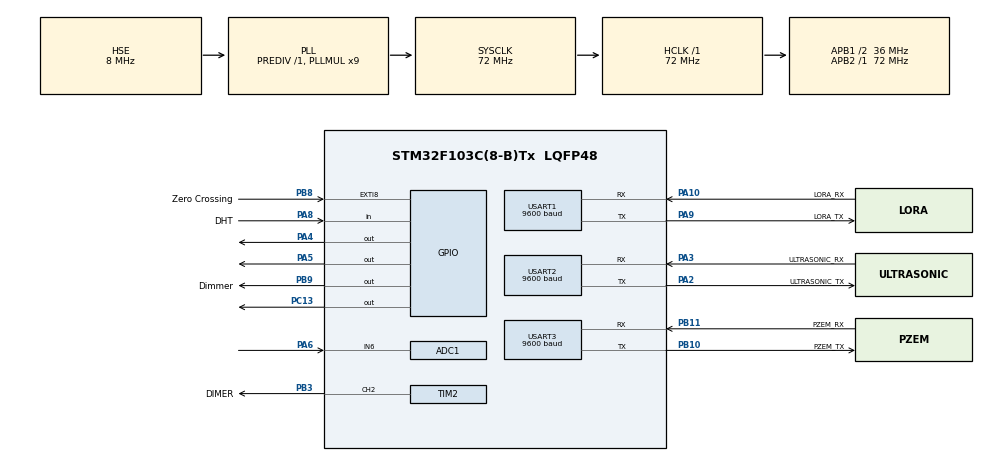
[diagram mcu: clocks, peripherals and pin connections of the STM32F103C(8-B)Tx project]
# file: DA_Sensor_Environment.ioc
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ADC1.Channel-0\#ChannelRegularConversion=ADC_CHANNEL_6
ADC1.ContinuousConvMode=ENABLE
ADC1.InjNumberOfConversion=0
ADC1.NbrOfConversionFlag=1
ADC1.Rank-0\#ChannelRegularConversion=1
ADC1.SamplingTime-0\#ChannelRegularConversion=ADC_SAMPLETIME_239CYCLES_5
ADC1.master=1
Mcu.Family=STM32F1
Mcu.Name=STM32F103C(8-B)Tx
Mcu.Package=LQFP48
NVIC.ADC1_2_IRQn=true\:0\:0\:false\:false\:true\:true\:true
NVIC.EXTI9_5_IRQn=true\:0\:0\:false\:false\:true\:true\:true
NVIC.PriorityGroup=NVIC_PRIORITYGROUP_4
NVIC.TIM2_IRQn=true\:0\:0\:false\:false\:true\:true\:true
NVIC.USART1_IRQn=true\:1\:0\:true\:false\:true\:true\:true
NVIC.USART2_IRQn=true\:0\:0\:false\:false\:true\:true\:true
NVIC.USART3_IRQn=true\:0\:0\:false\:false\:true\:true\:true
PA10.GPIO_Label=LORA_RX
PA10.Mode=Asynchronous
PA10.Signal=USART1_RX
PA13.Mode=Serial_Wire
PA13.Signal=SYS_JTMS-SWDIO
PA14.Mode=Serial_Wire
PA14.Signal=SYS_JTCK-SWCLK
PA2.GPIO_Label=ULTRASONIC_TX
PA2.Mode=Asynchronous
PA2.Signal=USART2_TX
PA3.GPIO_Label=ULTRASONIC_RX
PA3.Mode=Asynchronous
PA3.Signal=USART2_RX
PA4.GPIO_ModeDefaultOutputPP=GPIO_MODE_OUTPUT_OD
PA4.GPIO_PuPd=GPIO_PULLUP
PA4.Signal=GPIO_Output
PA5.GPIO_ModeDefaultOutputPP=GPIO_MODE_OUTPUT_OD
PA5.GPIO_PuPd=GPIO_PULLUP
PA5.PinState=GPIO_PIN_RESET
PA5.Signal=GPIO_Output
PA6.Signal=ADCx_IN6
PA8.GPIO_Label=DHT
PA8.Signal=GPIO_Input
PA9.GPIO_Label=LORA_TX
PA9.Mode=Asynchronous
PA9.Signal=USART1_TX
PB10.GPIO_Label=PZEM_TX
PB10.Mode=Asynchronous
PB10.Signal=USART3_TX
PB11.GPIO_Label=PZEM_RX
PB11.Mode=Asynchronous
PB11.Signal=USART3_RX
PB3.GPIO_Label=DIMER
PB3.GPIO_Speed=GPIO_SPEED_FREQ_HIGH
PB3.Signal=S_TIM2_CH2
PB8.GPIO_Label=Zero Crossing
PB8.GPIO_ModeDefaultEXTI=GPIO_MODE_IT_FALLING
PB8.Signal=GPXTI8
PB9.GPIO_Label=Dimmer
PB9.GPIO_ModeDefaultOutputPP=GPIO_MODE_OUTPUT_OD
PB9.GPIO_Speed=GPIO_SPEED_FREQ_HIGH
PB9.Signal=GPIO_Output
PC13-TAMPER-RTC.GPIO_Speed=GPIO_SPEED_FREQ_HIGH
PC13-TAMPER-RTC.PinState=GPIO_PIN_SET
PC13-TAMPER-RTC.Signal=GPIO_Output
PD0-OSC_IN.Mode=HSE-External-Oscillator
PD0-OSC_IN.Signal=RCC_OSC_IN
PD1-OSC_OUT.Mode=HSE-External-Oscillator
PD1-OSC_OUT.Signal=RCC_OSC_OUT
ProjectManager.HeapSize=0x200
ProjectManager.StackSize=0x400
ProjectManager.TargetToolchain=MDK-ARM V5
RCC.ADCPresc=RCC_ADCPCLK2_DIV6
RCC.AHBFreq_Value=72000000
RCC.APB1CLKDivider=RCC_HCLK_DIV2
RCC.APB1Freq_Value=36000000
RCC.APB1TimFreq_Value=72000000
RCC.APB2Freq_Value=72000000
RCC.APB2TimFreq_Value=72000000
RCC.HCLKFreq_Value=72000000
RCC.PLLMUL=RCC_PLL_MUL9
RCC.PLLSourceVirtual=RCC_PLLSOURCE_HSE
RCC.SYSCLKFreq_VALUE=72000000
RCC.SYSCLKSource=RCC_SYSCLKSOURCE_PLLCLK
RCC.USBFreq_Value=72000000
SH.ADCx_IN6.0=ADC1_IN6,IN6
SH.S_TIM2_CH2.0=TIM2_CH2,PWM Generation2 CH2
TIM2.Channel-PWM\ Generation2\ CH2=TIM_CHANNEL_2
TIM2.Period=200
TIM2.Prescaler=2
USART1.BaudRate=9600
USART1.VirtualMode=VM_ASYNC
USART2.BaudRate=9600
USART2.VirtualMode=VM_ASYNC
USART3.BaudRate=9600
USART3.VirtualMode=VM_ASYNC
VP_TIM2_VS_ClockSourceINT.Mode=Internal
board=custom

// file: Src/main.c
/* USER CODE BEGIN Header */
/**
  ******************************************************************************
  * @file           : main.c
  * @brief          : Main program body
  ******************************************************************************
  * @attention
  *
  * <h2><center>&copy; Copyright (c) 2019 STMicroelectronics.
  * All rights reserved.</center></h2>
  *
  * This software component is licensed by ST under BSD 3-Clause license,
  * the "License"; You may not use this file except in compliance with the
  * License. You may obtain a copy of the License at:
  *                        opensource.org/licenses/BSD-3-Clause
  *
  ******************************************************************************
  */
/* USER CODE END Header */

#include "main.h"

/* USER CODE BEGIN Includes */
#include <stdlib.h>     /* atoi */
#include <string.h>
#include "dwt_stm32_delay.h"
#include "pzem004t.h"
#include "DHT11.h"
/* USER CODE END Includes */

/* USER CODE BEGIN PD */
#define DATA_RANGE 24

#define ADDR_A (uint8_t)0x01
#define ADDR_B (uint8_t)0xC1
#define ADDR_C (uint8_t)0xA1

#define SIZE_VOLTAGE_PZEM 3
#define SIZE_CURRENT_PZEM 2
#define SIZE_POWER_PZEM 2
#define SIZE_ENERGY_PZEM 3

#define DHT_AVAILABLE 0

#define RAINY (uint8_t)0xA6
#define NO_RAIN (uint8_t)0xC0

#define UPDATE_REQUEST (uint8_t)0x96

/* USER CODE END PD */

ADC_HandleTypeDef hadc1;

TIM_HandleTypeDef htim2;

UART_HandleTypeDef huart1;
UART_HandleTypeDef huart2;
UART_HandleTypeDef huart3;

/* USER CODE BEGIN PV */
char SonicData[6];
uint8_t PzemData[7];
uint8_t LoraData[5];
uint32_t RainData;
volatile uint8_t isrCounter;
volatile uint8_t isrPzem = 1;
/* USER CODE END PV */

void SystemClock_Config(void);
static void MX_GPIO_Init(void);
static void MX_USART3_UART_Init(void);
static void MX_TIM2_Init(void);
static void MX_USART1_UART_Init(void);
static void MX_USART2_UART_Init(void);
static void MX_ADC1_Init(void);
/* USER CODE BEGIN PFP */
void HAL_UART_RxCpltCallback(UART_HandleTypeDef *huart)
{
  if(huart->Instance == USART1)
  {
  isrCounter = 1;
  HAL_UART_Receive_IT(&huart1, (uint8_t*) LoraData , sizeof(LoraData));

  }
  if(huart->Instance == USART2)
  {
  HAL_UART_Receive_IT(&huart2, (uint8_t*) SonicData , sizeof(SonicData));
  }
  if(huart->Instance == USART3)
  {
  isrPzem = 0;
  HAL_UART_Receive_IT(&huart3, (uint8_t*) PzemData , sizeof(PzemData));
  }
}

void HAL_ADC_ConvCpltCallback(ADC_HandleTypeDef* hadc)
{
	if(hadc->Instance == hadc1.Instance)
	{
		RainData = HAL_ADC_GetValue(hadc);
	}
}

/* USER CODE END PFP */

/* USER CODE BEGIN 0 */
float RH, TEMP;
uint8_t buffer[5];
uint8_t* pzemDataCplt;
uint32_t temp = 0;
uint8_t dimData = 0;
/*
volatile int i = 0, zeroCrossing = 0, debug = 0;
volatile uint8_t dim = 100; // dim around: 5 - 128 :))) // 128 is turn off Lamp
*/
// Detect Zero crossing
void HAL_GPIO_EXTI_Callback(uint16_t GPIO_Pin){
  /*
	if(GPIO_Pin == GPIO_PIN_8)
	{
		// Peridically = 10ms
		zeroCrossing = 1;
		i = 0;
		HAL_GPIO_WritePin(GPIOB, GPIO_PIN_9, GPIO_PIN_SET ); // Turn off dimmer
	}
  */
}

// Timer
void HAL_TIM_PeriodElapsedCallback(TIM_HandleTypeDef *htim){

/*
	if(htim->Instance == htim2.Instance){  // Timer with frequence 75us
	 if(zeroCrossing == 1){
	   if(i >= dim){
	     HAL_GPIO_WritePin(GPIOB, GPIO_PIN_9, GPIO_PIN_RESET); // Turn on dimmer
	     i = 0;
	     zeroCrossing = 0;
	   }
	   else i++;
	 }
	}
*/
}
uint32_t Distance(uint8_t* data1, uint8_t* data2, uint8_t* data3, uint8_t* data4)
{
  uint32_t result = 0;
    if(SonicData[0] == 'R')
    {
      *data1 = SonicData[1];
      *data2 = SonicData[2];
      *data3 = SonicData[3];
      *data4 = SonicData[4];
      for (uint8_t i = 1; i < 5; i++)
      {

        result = result*10 + (uint32_t)( SonicData[i] - '0' );
      }
    }
  return result;
}

// uint32_t AverageDistance()
// {
//  uint32_t result = 0;
// if(cou)
// }

uint8_t sumData(uint8_t* data, uint8_t size)
{
  uint16_t crc  = 0x0000;
  for(uint8_t i=0; i< (size - 1); i++)
      crc += *(data + i);
  return (uint8_t)(crc & 0xFF);
}
/* USER CODE END 0 */

int main(void)
{
  /* USER CODE BEGIN 1 */
  uint8_t x = 0;
//	HAL_GPIO_WritePin(GPIOA, GPIO_PIN_5, GPIO_PIN_SET);
//	HAL_GPIO_WritePin(GPIOA, GPIO_PIN_4, GPIO_PIN_SET);
  /* USER CODE END 1 */

  /* MCU Configuration--------------------------------------------------------*/

  /* Reset of all peripherals, Initializes the Flash interface and the Systick. */
  HAL_Init();

  /* Configure the system clock */
  SystemClock_Config();

  /* Initialize all configured peripherals */
  MX_GPIO_Init();
  MX_USART3_UART_Init();
  MX_TIM2_Init();
  MX_USART1_UART_Init();
  MX_USART2_UART_Init();
  MX_ADC1_Init();
  /* USER CODE BEGIN 2 */
  HAL_UART_Receive_IT(&huart1, (uint8_t*) LoraData , sizeof(LoraData));
	HAL_UART_Receive_IT(&huart2, (uint8_t*) SonicData , sizeof(SonicData));
  HAL_UART_Receive_IT(&huart3, (uint8_t*) PzemData , sizeof(PzemData));
	HAL_ADC_Start_IT(&hadc1);
	DWT_Delay_Init ();
//	HAL_TIM_Base_Start_IT(&htim2); //HALOGEN BULD dimmer

	HAL_TIM_PWM_Start_IT(&htim2, TIM_CHANNEL_2); // LED dimmer
	htim2.Instance->CCR2 = 175;

  /* USER CODE END 2 */

  /* Infinite loop */
  while (1)
  {

    /* USER CODE BEGIN 3 */

    if (sumData(LoraData, 5) == LoraData[4] && isrCounter && LoraData[0] == ADDR_A && LoraData[1] == ADDR_B && LoraData[2] == ADDR_C )
		{
      isrCounter = 0;
      if (LoraData[3] == UPDATE_REQUEST)
      {
        uint8_t loraDataSend[DATA_RANGE] = {0};
        loraDataSend[0] = ADDR_A;
        loraDataSend[1] = ADDR_B;
        loraDataSend[2] = ADDR_C;

        pzemDataCplt =  getPzemData(&huart3);
        for(uint8_t i = 3; i< 13; i++)
        {
          loraDataSend[i] = *(pzemDataCplt + (i - 3));
        }

        temp = Distance(&loraDataSend[13], &loraDataSend[14], &loraDataSend[15], &loraDataSend[16]);

        if (dht11_read_data(buffer) == DHT_AVAILABLE)
          {
            loraDataSend[17] = buffer[0];
            loraDataSend[18] = buffer[1];
            loraDataSend[19] = buffer[2];
            loraDataSend[20] = buffer[3];
            RH = buffer[0] + buffer[1] / 10.0;
            TEMP = buffer[2] + buffer[3] / 10.0;
          }

        if (RainData < 1500)
        {
          loraDataSend[21] = RAINY;
        }
        else loraDataSend[21] = NO_RAIN;
        loraDataSend[22] = dimData;
        loraDataSend[23] = sumData(loraDataSend, DATA_RANGE);
        HAL_UART_Transmit(&huart1, loraDataSend, sizeof(loraDataSend), 1000);
        HAL_GPIO_TogglePin(GPIOC, GPIO_PIN_13);
      }
			else
        {
          x++;
          uint8_t loraFeedback[4] = {0};
          for (int i = 0; i < 3; ++i)
          {
            loraFeedback[i] = LoraData[i];
          }
          loraFeedback[3] = LoraData[4];
          HAL_UART_Transmit(&huart1, loraFeedback, sizeof(loraFeedback), 1000);
          dimData = LoraData[3];
          htim2.Instance->CCR2 = dimData*2;
        }
    }

		// uint8_t VOLTAGE[7] = {0xB0, 0xC0, 0xA8, 0x01, 0x01, 0x00, 0x1A};
		// HAL_UART_Transmit(&huart3, VOLTAGE, sizeof(VOLTAGE), 1000);
    // HAL_Delay(500);
		// uint8_t CURRENT[7] = {0xB1, 0xC0, 0xA8, 0x01, 0x01, 0x00, 0x1B};
		// HAL_UART_Transmit(&huart3, CURRENT, sizeof(CURRENT), 1000);
		// HAL_Delay(500);

		// uint8_t POWER[7] = {0xB2, 0xC0, 0xA8, 0x01, 0x01, 0x00, 0x1C};
		// HAL_UART_Transmit(&huart3, POWER, sizeof(POWER), 1000);
		// HAL_Delay(5000);
		// uint8_t ENERGY[7] = {0xB3, 0xC0, 0xA8, 0x01, 0x01, 0x00, 0x1D};
		// HAL_UART_Transmit(&huart3, ENERGY, sizeof(ENERGY), 1000);
		// HAL_Delay(500);
  }
  /* USER CODE END 3 */
}

void SystemClock_Config(void)
{
  RCC_OscInitTypeDef RCC_OscInitStruct = {0};
  RCC_ClkInitTypeDef RCC_ClkInitStruct = {0};
  RCC_PeriphCLKInitTypeDef PeriphClkInit = {0};

  /** Initializes the CPU, AHB and APB busses clocks
  */
  RCC_OscInitStruct.OscillatorType = RCC_OSCILLATORTYPE_HSE;
  RCC_OscInitStruct.HSEState = RCC_HSE_ON;
  RCC_OscInitStruct.HSEPredivValue = RCC_HSE_PREDIV_DIV1;
  RCC_OscInitStruct.HSIState = RCC_HSI_ON;
  RCC_OscInitStruct.PLL.PLLState = RCC_PLL_ON;
  RCC_OscInitStruct.PLL.PLLSource = RCC_PLLSOURCE_HSE;
  RCC_OscInitStruct.PLL.PLLMUL = RCC_PLL_MUL9;
  if (HAL_RCC_OscConfig(&RCC_OscInitStruct) != HAL_OK)
  {
    Error_Handler();
  }
  /** Initializes the CPU, AHB and APB busses clocks
  */
  RCC_ClkInitStruct.ClockType = RCC_CLOCKTYPE_HCLK|RCC_CLOCKTYPE_SYSCLK
                              |RCC_CLOCKTYPE_PCLK1|RCC_CLOCKTYPE_PCLK2;
  RCC_ClkInitStruct.SYSCLKSource = RCC_SYSCLKSOURCE_PLLCLK;
  RCC_ClkInitStruct.AHBCLKDivider = RCC_SYSCLK_DIV1;
  RCC_ClkInitStruct.APB1CLKDivider = RCC_HCLK_DIV2;
  RCC_ClkInitStruct.APB2CLKDivider = RCC_HCLK_DIV1;

  if (HAL_RCC_ClockConfig(&RCC_ClkInitStruct, FLASH_LATENCY_2) != HAL_OK)
  {
    Error_Handler();
  }
  PeriphClkInit.PeriphClockSelection = RCC_PERIPHCLK_ADC;
  PeriphClkInit.AdcClockSelection = RCC_ADCPCLK2_DIV6;
  if (HAL_RCCEx_PeriphCLKConfig(&PeriphClkInit) != HAL_OK)
  {
    Error_Handler();
  }
}

static void MX_ADC1_Init(void)
{

  ADC_ChannelConfTypeDef sConfig = {0};

  /** Common config
  */
  hadc1.Instance = ADC1;
  hadc1.Init.ScanConvMode = ADC_SCAN_DISABLE;
  hadc1.Init.ContinuousConvMode = ENABLE;
  hadc1.Init.DiscontinuousConvMode = DISABLE;
  hadc1.Init.ExternalTrigConv = ADC_SOFTWARE_START;
  hadc1.Init.DataAlign = ADC_DATAALIGN_RIGHT;
  hadc1.Init.NbrOfConversion = 1;
  if (HAL_ADC_Init(&hadc1) != HAL_OK)
  {
    Error_Handler();
  }
  /** Configure Regular Channel
  */
  sConfig.Channel = ADC_CHANNEL_6;
  sConfig.Rank = ADC_REGULAR_RANK_1;
  sConfig.SamplingTime = ADC_SAMPLETIME_239CYCLES_5;
  if (HAL_ADC_ConfigChannel(&hadc1, &sConfig) != HAL_OK)
  {
    Error_Handler();
  }

}

static void MX_TIM2_Init(void)
{

  TIM_ClockConfigTypeDef sClockSourceConfig = {0};
  TIM_MasterConfigTypeDef sMasterConfig = {0};
  TIM_OC_InitTypeDef sConfigOC = {0};

  htim2.Instance = TIM2;
  htim2.Init.Prescaler = 2;
  htim2.Init.CounterMode = TIM_COUNTERMODE_UP;
  htim2.Init.Period = 200;
  htim2.Init.ClockDivision = TIM_CLOCKDIVISION_DIV1;
  htim2.Init.AutoReloadPreload = TIM_AUTORELOAD_PRELOAD_DISABLE;
  if (HAL_TIM_Base_Init(&htim2) != HAL_OK)
  {
    Error_Handler();
  }
  sClockSourceConfig.ClockSource = TIM_CLOCKSOURCE_INTERNAL;
  if (HAL_TIM_ConfigClockSource(&htim2, &sClockSourceConfig) != HAL_OK)
  {
    Error_Handler();
  }
  if (HAL_TIM_PWM_Init(&htim2) != HAL_OK)
  {
    Error_Handler();
  }
  sMasterConfig.MasterOutputTrigger = TIM_TRGO_RESET;
  sMasterConfig.MasterSlaveMode = TIM_MASTERSLAVEMODE_DISABLE;
  if (HAL_TIMEx_MasterConfigSynchronization(&htim2, &sMasterConfig) != HAL_OK)
  {
    Error_Handler();
  }
  sConfigOC.OCMode = TIM_OCMODE_PWM1;
  sConfigOC.Pulse = 0;
  sConfigOC.OCPolarity = TIM_OCPOLARITY_HIGH;
  sConfigOC.OCFastMode = TIM_OCFAST_DISABLE;
  if (HAL_TIM_PWM_ConfigChannel(&htim2, &sConfigOC, TIM_CHANNEL_2) != HAL_OK)
  {
    Error_Handler();
  }
  HAL_TIM_MspPostInit(&htim2);

}

static void MX_USART1_UART_Init(void)
{

  huart1.Instance = USART1;
  huart1.Init.BaudRate = 9600;
  huart1.Init.WordLength = UART_WORDLENGTH_8B;
  huart1.Init.StopBits = UART_STOPBITS_1;
  huart1.Init.Parity = UART_PARITY_NONE;
  huart1.Init.Mode = UART_MODE_TX_RX;
  huart1.Init.HwFlowCtl = UART_HWCONTROL_NONE;
  huart1.Init.OverSampling = UART_OVERSAMPLING_16;
  if (HAL_UART_Init(&huart1) != HAL_OK)
  {
    Error_Handler();
  }

}

static void MX_USART2_UART_Init(void)
{

  huart2.Instance = USART2;
  huart2.Init.BaudRate = 9600;
  huart2.Init.WordLength = UART_WORDLENGTH_8B;
  huart2.Init.StopBits = UART_STOPBITS_1;
  huart2.Init.Parity = UART_PARITY_NONE;
  huart2.Init.Mode = UART_MODE_TX_RX;
  huart2.Init.HwFlowCtl = UART_HWCONTROL_NONE;
  huart2.Init.OverSampling = UART_OVERSAMPLING_16;
  if (HAL_UART_Init(&huart2) != HAL_OK)
  {
    Error_Handler();
  }

}

static void MX_USART3_UART_Init(void)
{

  huart3.Instance = USART3;
  huart3.Init.BaudRate = 9600;
  huart3.Init.WordLength = UART_WORDLENGTH_8B;
  huart3.Init.StopBits = UART_STOPBITS_1;
  huart3.Init.Parity = UART_PARITY_NONE;
  huart3.Init.Mode = UART_MODE_TX_RX;
  huart3.Init.HwFlowCtl = UART_HWCONTROL_NONE;
  huart3.Init.OverSampling = UART_OVERSAMPLING_16;
  if (HAL_UART_Init(&huart3) != HAL_OK)
  {
    Error_Handler();
  }

}

static void MX_GPIO_Init(void)
{
  GPIO_InitTypeDef GPIO_InitStruct = {0};

  /* GPIO Ports Clock Enable */
  __HAL_RCC_GPIOC_CLK_ENABLE();
  __HAL_RCC_GPIOD_CLK_ENABLE();
  __HAL_RCC_GPIOA_CLK_ENABLE();
  __HAL_RCC_GPIOB_CLK_ENABLE();

  /*Configure GPIO pin Output Level */
  HAL_GPIO_WritePin(GPIOC, GPIO_PIN_13, GPIO_PIN_SET);

  /*Configure GPIO pin Output Level */
  HAL_GPIO_WritePin(GPIOA, GPIO_PIN_4|GPIO_PIN_5, GPIO_PIN_RESET);

  /*Configure GPIO pin Output Level */
  HAL_GPIO_WritePin(Dimmer_GPIO_Port, Dimmer_Pin, GPIO_PIN_RESET);

  /*Configure GPIO pin : PC13 */
  GPIO_InitStruct.Pin = GPIO_PIN_13;
  GPIO_InitStruct.Mode = GPIO_MODE_OUTPUT_PP;
  GPIO_InitStruct.Pull = GPIO_NOPULL;
  GPIO_InitStruct.Speed = GPIO_SPEED_FREQ_HIGH;
  HAL_GPIO_Init(GPIOC, &GPIO_InitStruct);

  /*Configure GPIO pins : PA4 PA5 */
  GPIO_InitStruct.Pin = GPIO_PIN_4|GPIO_PIN_5;
  GPIO_InitStruct.Mode = GPIO_MODE_OUTPUT_OD;
  GPIO_InitStruct.Pull = GPIO_PULLUP;
  GPIO_InitStruct.Speed = GPIO_SPEED_FREQ_LOW;
  HAL_GPIO_Init(GPIOA, &GPIO_InitStruct);

  /*Configure GPIO pin : DHT_Pin */
  GPIO_InitStruct.Pin = DHT_Pin;
  GPIO_InitStruct.Mode = GPIO_MODE_INPUT;
  GPIO_InitStruct.Pull = GPIO_NOPULL;
  HAL_GPIO_Init(DHT_GPIO_Port, &GPIO_InitStruct);

  /*Configure GPIO pin : Zero_Crossing_Pin */
  GPIO_InitStruct.Pin = Zero_Crossing_Pin;
  GPIO_InitStruct.Mode = GPIO_MODE_IT_FALLING;
  GPIO_InitStruct.Pull = GPIO_NOPULL;
  HAL_GPIO_Init(Zero_Crossing_GPIO_Port, &GPIO_InitStruct);

  /*Configure GPIO pin : Dimmer_Pin */
  GPIO_InitStruct.Pin = Dimmer_Pin;
  GPIO_InitStruct.Mode = GPIO_MODE_OUTPUT_OD;
  GPIO_InitStruct.Pull = GPIO_NOPULL;
  GPIO_InitStruct.Speed = GPIO_SPEED_FREQ_HIGH;
  HAL_GPIO_Init(Dimmer_GPIO_Port, &GPIO_InitStruct);

  /* EXTI interrupt init*/
  HAL_NVIC_SetPriority(EXTI9_5_IRQn, 0, 0);
  HAL_NVIC_EnableIRQ(EXTI9_5_IRQn);

}

void Error_Handler(void)
{
}

/************************ (C) COPYRIGHT STMicroelectronics *****END OF FILE****/
